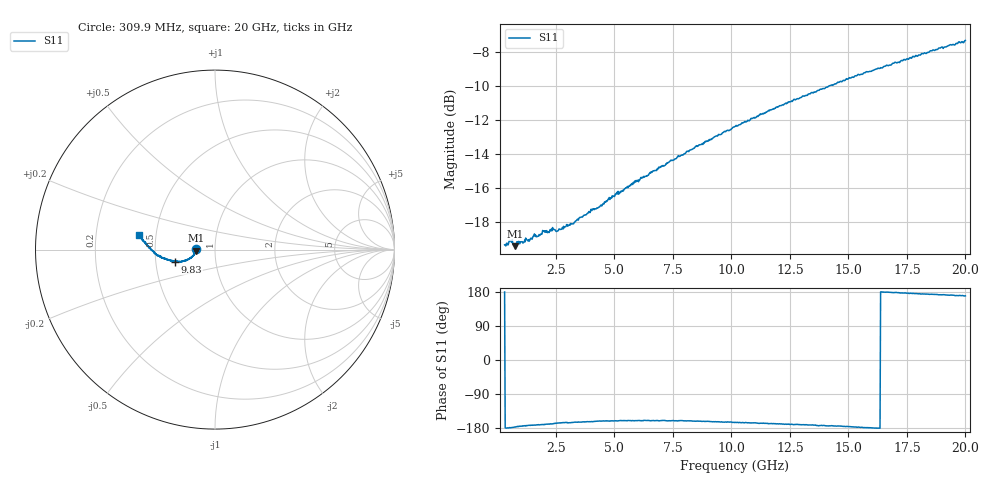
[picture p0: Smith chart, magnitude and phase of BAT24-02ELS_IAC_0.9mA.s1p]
! Infineon Technologies  Discrete & RF Semiconductors
! BAT24-02ELS
! IAC = 0.9 mA
! One-Port S-Parameters
# Hz  S  MA  R  50
!f  S11
!Hz  Mag  Ang
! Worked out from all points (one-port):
!   789 points, 309.9 MHz to 20 GHz, reference 50 ohm
!   lowest |S11| = -19.4 dB at 759.6 MHz (marker M1), VSWR 1.24, Z = 40.4 - j0.531 ohm
!   |S11| at or under -10 dB: start of sweep to 14.21 GHz
!   S11 on the Smith chart (normalised r, x): 309.9 MHz: 0.81, +0.00; 9.83 GHz: 0.63, -0.09; 20 GHz: 0.40, +0.08
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3.0985e8  0.1079 179.5
5.59725e8  0.1109 -179.0
7.59625e8  0.1069 -176.5
1.4093e9  0.1123 -172.6
1.584212e9  0.1161 -172.0
1.734138e9  0.1143 -171.2
2.009e9  0.1185 -169.8
2.158925e9  0.1175 -169.1
2.383812e9  0.1203 -168.2
2.558725e9  0.1182 -166.6
2.783612e9  0.1213 -165.2
3.233388e9  0.1244 -164.8
5.232388e9  0.1541 -160.0
5.882062e9  0.1661 -159.9
7.70615e9  0.196 -160.9
9.830088e9  0.2339 -163.3
1.015492e10  0.2397 -164.5
1.097951e10  0.2552 -165.6
1.262869e10  0.286 -170.2
1.352824e10  0.3028 -171.7
1.370315e10  0.3065 -173.0
1.390305e10  0.3101 -172.9
1.507746e10  0.333 -175.6
1.755122e10  0.3779 176.6
1.945028e10  0.4173 171.0
1.962519e10  0.4208 170.1
1.982509e10  0.4243 169.7
2e10  0.4291 169.2
